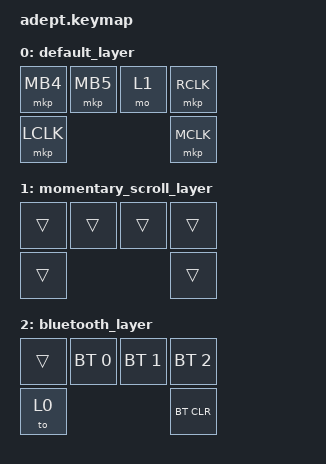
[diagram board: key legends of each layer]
#include <behaviors/mouse_keys.dtsi>
#include <behaviors.dtsi>
#include <dt-bindings/zmk/bt.h>
#include <dt-bindings/zmk/keys.h>
#include <dt-bindings/zmk/mouse.h>
#include <dt-bindings/zmk/outputs.h>

/ {
  combos {
    compatible = "zmk,combos";
    combo_bluetooth {
      timeout-ms = <50>;
      key-positions = <4 5>;
      bindings = <&to 2>;
    };
  };
  keymap {
    compatible = "zmk,keymap";
    default_layer {
      bindings = <
        &mkp MB4  &mkp MB5  &mo 1  &mkp RCLK
        &mkp LCLK                  &mkp MCLK
      >;
    };
    momentary_scroll_layer {
      bindings = <
        &trans  &trans  &trans  &trans
        &trans                  &trans
      >;
    };
    bluetooth_layer {
      bindings = <
        &trans &bt BT_SEL 0 &bt BT_SEL 1 &bt BT_SEL 2
        &to 0                            &bt BT_CLR
      >;
    };
  };
};
